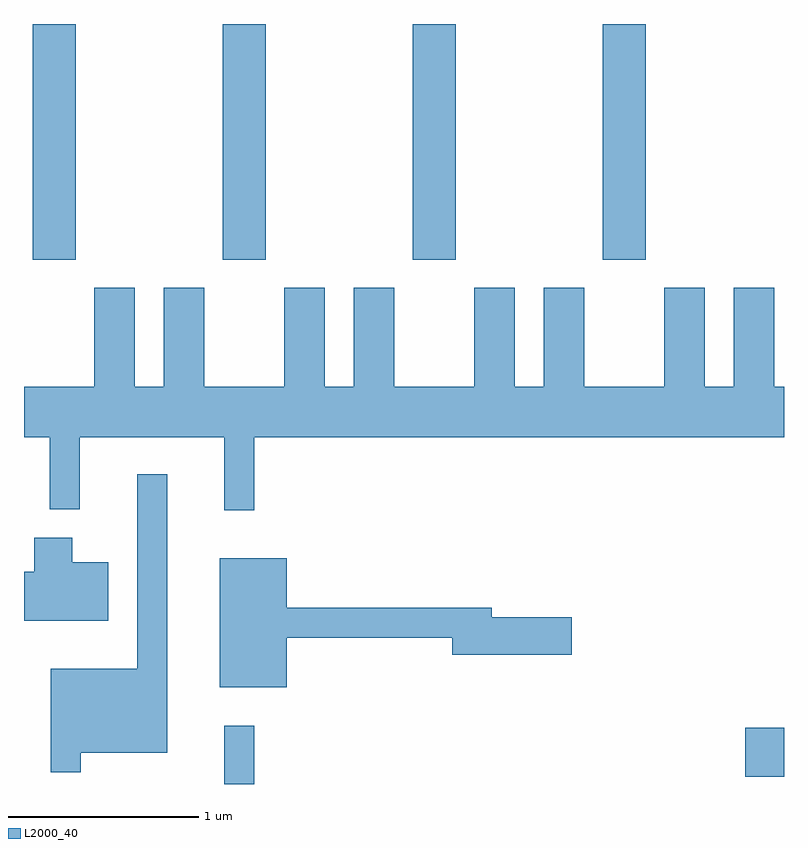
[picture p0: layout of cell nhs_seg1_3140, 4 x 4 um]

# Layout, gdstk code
import gdstk
lib = gdstk.Library(unit=1e-6, precision=1e-09)
def R(c, l, rs):  # rectangles x0, y0, x1, y1
    for r in rs: c.add(gdstk.rectangle(r[:2], r[2:], *l))
def A(c, l, x, y, w, h, nx, ny, dx, dy):  # array of equal rectangles
    R(c, l, [(x+i*dx, y+j*dy, x+i*dx+w, y+j*dy+h) for i in range(nx) for j in range(ny)])
def P(c, l, *ps):  # polygons
    for p in ps: c.add(gdstk.Polygon(p, *l))
L2000_40 = (2000, 40)

nhs_seg1_3140 = lib.new_cell('nhs_seg1_3140')
A(nhs_seg1_3140, L2000_40, 279.656, 940.471, 0.228, 1.241, 4, 1, 1, 0)
R(nhs_seg1_3140, L2000_40, [(280.666,937.712,280.824,938.018), (283.406,937.751,283.611,938.009)])
P(nhs_seg1_3140, L2000_40, [(280.824,939.536),(283.611,939.536),(283.611,939.804),(283.559,939.804),(283.559,940.324),(283.346,940.324),(283.346,939.804),(283.194,939.804),(283.194,940.324),(282.981,940.324),(282.981,939.804),(282.559,939.804),(282.559,940.324),(282.346,940.324),(282.346,939.804),(282.194,939.804),(282.194,940.324),(281.981,940.324),(281.981,939.804),(281.559,939.804),(281.559,940.324),(281.346,940.324),(281.346,939.804),(281.194,939.804),(281.194,940.324),(280.981,940.324),(280.981,939.804),(280.559,939.804),(280.559,940.324),(280.346,940.324),(280.346,939.804),(280.194,939.804),(280.194,940.324),(279.981,940.324),(279.981,939.804),(279.611,939.804),(279.611,939.536),(279.746,939.536),(279.746,939.158),(279.904,939.158),(279.904,939.536),(280.666,939.536),(280.666,939.153),(280.824,939.153)],
  [(279.909,937.876),(280.364,937.876),(280.364,939.343),(280.206,939.343),(280.206,938.319),(279.751,938.319),(279.751,937.773),(279.909,937.773)],
  [(280.054,938.879),(279.864,938.879),(279.864,939.009),(279.666,939.009),(279.666,938.829),(279.611,938.829),(279.611,938.571),(280.054,938.571)],
  [(280.994,938.481),(281.866,938.481),(281.866,938.391),(282.494,938.391),(282.494,938.589),(282.074,938.589),(282.074,938.639),(280.994,938.639),(280.994,938.899),(280.641,938.899),(280.641,938.221),(280.994,938.221)])

lib.write_gds('nhs_seg1_3140.gds')
